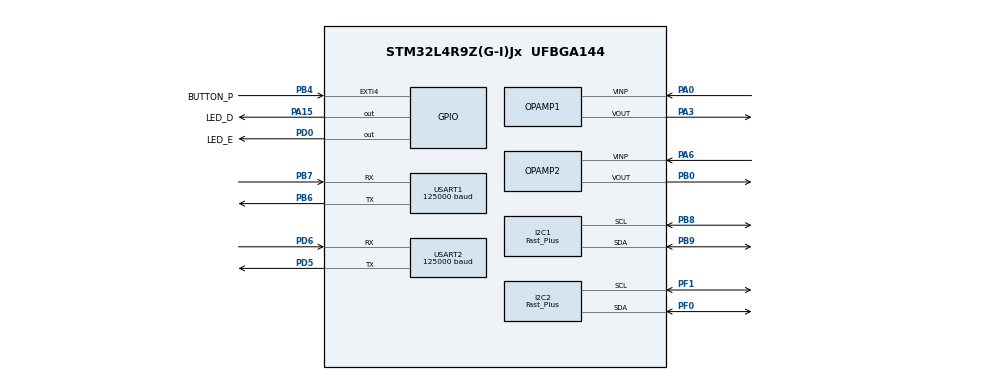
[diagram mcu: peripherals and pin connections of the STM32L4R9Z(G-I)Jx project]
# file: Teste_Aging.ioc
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ADC1.Channel-0\#ChannelRegularConversion=ADC_CHANNEL_TEMPSENSOR
ADC1.Channel-1\#ChannelRegularConversion=ADC_CHANNEL_8
ADC1.Channel-2\#ChannelRegularConversion=ADC_CHANNEL_15
ADC1.ContinuousConvMode=DISABLE
ADC1.DMAContinuousRequests=DISABLE
ADC1.DiscontinuousConvMode=DISABLE
ADC1.EOCSelection=ADC_EOC_SINGLE_CONV
ADC1.EnableAnalogWatchDog1=false
ADC1.NbrOfConversion=3
ADC1.NbrOfConversionFlag=1
ADC1.OffsetNumber-0\#ChannelRegularConversion=ADC_OFFSET_NONE
ADC1.OffsetNumber-1\#ChannelRegularConversion=ADC_OFFSET_NONE
ADC1.OffsetNumber-2\#ChannelRegularConversion=ADC_OFFSET_NONE
ADC1.Rank-0\#ChannelRegularConversion=1
ADC1.Rank-1\#ChannelRegularConversion=2
ADC1.Rank-2\#ChannelRegularConversion=3
ADC1.SamplingTime-0\#ChannelRegularConversion=ADC_SAMPLETIME_640CYCLES_5
ADC1.SamplingTime-1\#ChannelRegularConversion=ADC_SAMPLETIME_640CYCLES_5
ADC1.SamplingTime-2\#ChannelRegularConversion=ADC_SAMPLETIME_640CYCLES_5
ADC1.master=1
Dma.Request0=USART1_RX
Dma.Request1=USART1_TX
Dma.Request2=USART2_RX
Dma.Request3=USART2_TX
Dma.USART1_RX.0.Direction=DMA_PERIPH_TO_MEMORY
Dma.USART1_RX.0.EventEnable=DISABLE
Dma.USART1_RX.0.Instance=DMA1_Channel1
Dma.USART1_RX.0.MemDataAlignment=DMA_MDATAALIGN_BYTE
Dma.USART1_RX.0.MemInc=DMA_MINC_ENABLE
Dma.USART1_RX.0.Mode=DMA_CIRCULAR
Dma.USART1_RX.0.PeriphDataAlignment=DMA_PDATAALIGN_BYTE
Dma.USART1_RX.0.PeriphInc=DMA_PINC_DISABLE
Dma.USART1_RX.0.Polarity=HAL_DMAMUX_REQUEST_GEN_RISING
Dma.USART1_RX.0.Priority=DMA_PRIORITY_LOW
Dma.USART1_RX.0.RequestNumber=1
Dma.USART1_RX.0.SignalID=NONE
Dma.USART1_RX.0.SyncEnable=DISABLE
Dma.USART1_RX.0.SyncPolarity=HAL_DMAMUX_SYNC_NO_EVENT
Dma.USART1_RX.0.SyncRequestNumber=1
Dma.USART1_RX.0.SyncSignalID=NONE
Dma.USART1_TX.1.Direction=DMA_MEMORY_TO_PERIPH
Dma.USART1_TX.1.EventEnable=DISABLE
Dma.USART1_TX.1.Instance=DMA1_Channel2
Dma.USART1_TX.1.MemDataAlignment=DMA_MDATAALIGN_BYTE
Dma.USART1_TX.1.MemInc=DMA_MINC_ENABLE
Dma.USART1_TX.1.Mode=DMA_NORMAL
Dma.USART1_TX.1.PeriphDataAlignment=DMA_PDATAALIGN_BYTE
Dma.USART1_TX.1.PeriphInc=DMA_PINC_DISABLE
Dma.USART1_TX.1.Polarity=HAL_DMAMUX_REQUEST_GEN_RISING
Dma.USART1_TX.1.Priority=DMA_PRIORITY_LOW
Dma.USART1_TX.1.RequestNumber=1
Dma.USART1_TX.1.SignalID=NONE
Dma.USART1_TX.1.SyncEnable=DISABLE
Dma.USART1_TX.1.SyncPolarity=HAL_DMAMUX_SYNC_NO_EVENT
Dma.USART1_TX.1.SyncRequestNumber=1
Dma.USART1_TX.1.SyncSignalID=NONE
Dma.USART2_RX.2.Direction=DMA_PERIPH_TO_MEMORY
Dma.USART2_RX.2.EventEnable=DISABLE
Dma.USART2_RX.2.Instance=DMA2_Channel1
Dma.USART2_RX.2.MemDataAlignment=DMA_MDATAALIGN_BYTE
Dma.USART2_RX.2.MemInc=DMA_MINC_ENABLE
Dma.USART2_RX.2.Mode=DMA_CIRCULAR
Dma.USART2_RX.2.PeriphDataAlignment=DMA_PDATAALIGN_BYTE
Dma.USART2_RX.2.PeriphInc=DMA_PINC_DISABLE
Dma.USART2_RX.2.Polarity=HAL_DMAMUX_REQUEST_GEN_RISING
Dma.USART2_RX.2.Priority=DMA_PRIORITY_LOW
Dma.USART2_RX.2.RequestNumber=1
Dma.USART2_RX.2.SignalID=NONE
Dma.USART2_RX.2.SyncEnable=DISABLE
Dma.USART2_RX.2.SyncPolarity=HAL_DMAMUX_SYNC_NO_EVENT
Dma.USART2_RX.2.SyncRequestNumber=1
Dma.USART2_RX.2.SyncSignalID=NONE
Dma.USART2_TX.3.Direction=DMA_MEMORY_TO_PERIPH
Dma.USART2_TX.3.EventEnable=DISABLE
Dma.USART2_TX.3.Instance=DMA2_Channel2
Dma.USART2_TX.3.MemDataAlignment=DMA_MDATAALIGN_BYTE
Dma.USART2_TX.3.MemInc=DMA_MINC_ENABLE
Dma.USART2_TX.3.Mode=DMA_NORMAL
Dma.USART2_TX.3.PeriphDataAlignment=DMA_PDATAALIGN_BYTE
Dma.USART2_TX.3.PeriphInc=DMA_PINC_DISABLE
Dma.USART2_TX.3.Polarity=HAL_DMAMUX_REQUEST_GEN_RISING
Dma.USART2_TX.3.Priority=DMA_PRIORITY_LOW
Dma.USART2_TX.3.RequestNumber=1
Dma.USART2_TX.3.SignalID=NONE
Dma.USART2_TX.3.SyncEnable=DISABLE
Dma.USART2_TX.3.SyncPolarity=HAL_DMAMUX_SYNC_NO_EVENT
Dma.USART2_TX.3.SyncRequestNumber=1
Dma.USART2_TX.3.SyncSignalID=NONE
FREERTOS.BinarySemaphores01=LatchupDetecSem,Dynamic,NULL,Depleted
FREERTOS.Mutexes01=i2cMutex,Dynamic,NULL,Available
FREERTOS.Tasks01=defaultTask,24,512,StartDefaultTask,Default,NULL,Dynamic,NULL,NULL;sendTelemetry,24,512,send_telemetry,As external,&Telemetry_ctx,Dynamic,NULL,NULL;getMeasures,24,512,get_measures,As external,&Telemetry_ctx,Dynamic,NULL,NULL;LatchupDetect,24,256,LatchupProtection,Default,NULL,Dynamic,NULL,NULL
FREERTOS.configENABLE_FPU=1
FREERTOS.configTOTAL_HEAP_SIZE=15000
I2C1.I2C_Speed_Mode=I2C_Fast_Plus
I2C1.Speed=400
I2C1.Timing=0x10820B75
I2C2.I2C_Rise_Time=100
I2C2.I2C_Speed_Mode=I2C_Fast_Plus
I2C2.Speed=400
I2C2.Timing=0x10820B75
Mcu.Family=STM32L4
Mcu.Name=STM32L4R9Z(G-I)Jx
Mcu.Package=UFBGA144
NVIC.DMA1_Channel1_IRQn=true\:5\:0\:false\:false\:true\:true\:false\:true\:true
NVIC.DMA1_Channel2_IRQn=true\:5\:0\:false\:false\:true\:false\:false\:true\:true
NVIC.DMA2_Channel1_IRQn=true\:5\:0\:false\:false\:true\:false\:false\:true\:true
NVIC.DMA2_Channel2_IRQn=true\:5\:0\:false\:false\:true\:false\:false\:true\:true
NVIC.EXTI4_IRQn=true\:5\:0\:false\:false\:true\:true\:true\:true\:true
NVIC.PriorityGroup=NVIC_PRIORITYGROUP_4
NVIC.USART1_IRQn=true\:5\:0\:false\:false\:true\:true\:true\:true\:true
NVIC.USART2_IRQn=true\:5\:0\:false\:false\:true\:true\:true\:true\:true
OPAMP1.PowerSupplyRange=OPAMP_POWERSUPPLY_HIGH
OPAMP1.SelfCalibration=Enable
OPAMP1.UserTrimming=OPAMP_TRIMMING_USER
OPAMP2.PowerSupplyRange=OPAMP_POWERSUPPLY_HIGH
OPAMP2.SelfCalibration=Enable
OPAMP2.UserTrimming=OPAMP_TRIMMING_USER
PA0.Mode=PGA Not Connected
PA0.Signal=OPAMP1_VINP
PA13\ (JTMS/SWDIO).Mode=Trace_Asynchronous_SW
PA13\ (JTMS/SWDIO).Signal=SYS_JTMS-SWDIO
PA14\ (JTCK/SWCLK).Mode=Trace_Asynchronous_SW
PA14\ (JTCK/SWCLK).Signal=SYS_JTCK-SWCLK
PA15\ (JTDI).GPIO_Label=LED_D
PA15\ (JTDI).Signal=GPIO_Output
PA3.Signal=SharedAnalog_PA3
PA4.Signal=SharedAnalog_PA4
PA6.Mode=PGA Not Connected
PA6.Signal=OPAMP2_VINP
PB0.Signal=SharedAnalog_PB0
PB3\ (JTDO/TRACESWO).Mode=Trace_Asynchronous_SW
PB3\ (JTDO/TRACESWO).Signal=SYS_JTDO-SWO
PB4\ (NJTRST).GPIO_Label=BUTTON_P
PB4\ (NJTRST).GPIO_ModeDefaultEXTI=GPIO_MODE_IT_FALLING
PB4\ (NJTRST).GPIO_PuPd=GPIO_PULLUP
PB4\ (NJTRST).Signal=GPXTI4
PB6.Mode=Asynchronous
PB6.Signal=USART1_TX
PB7.Mode=Asynchronous
PB7.Signal=USART1_RX
PB8.Mode=I2C
PB8.Signal=I2C1_SCL
PB9.Mode=I2C
PB9.Signal=I2C1_SDA
PC14-OSC32_IN\ (PC14).Mode=LSE-External-Oscillator
PC14-OSC32_IN\ (PC14).Signal=RCC_OSC32_IN
PC15-OSC32_OUT\ (PC15).Mode=LSE-External-Oscillator
PC15-OSC32_OUT\ (PC15).Signal=RCC_OSC32_OUT
PD0.GPIO_Label=LED_E
PD0.Signal=GPIO_Output
PD5.Mode=Asynchronous
PD5.Signal=USART2_TX
PD6.Mode=Asynchronous
PD6.Signal=USART2_RX
PF0.Mode=I2C
PF0.Signal=I2C2_SDA
PF1.Mode=I2C
PF1.Signal=I2C2_SCL
PH0-OSC_IN\ (PH0).Mode=HSE-External-Oscillator
PH0-OSC_IN\ (PH0).Signal=RCC_OSC_IN
PH1-OSC_OUT\ (PH1).Mode=HSE-External-Oscillator
PH1-OSC_OUT\ (PH1).Signal=RCC_OSC_OUT
ProjectManager.HeapSize=0x200
ProjectManager.StackSize=0x400
ProjectManager.TargetToolchain=STM32CubeIDE
RCC.ADCFreq_Value=32000000
RCC.AHBFreq_Value=120000000
RCC.APB1Freq_Value=120000000
RCC.APB1TimFreq_Value=120000000
RCC.APB2Freq_Value=120000000
RCC.APB2TimFreq_Value=120000000
RCC.CortexFreq_Value=120000000
RCC.HCLKFreq_Value=120000000
RCC.HSE_VALUE=16000000
RCC.HSI48_VALUE=48000000
RCC.HSI_VALUE=16000000
RCC.MSI_VALUE=4000000
RCC.PLLN=60
RCC.PLLSAI1N=16
RCC.SYSCLKFreq_VALUE=120000000
RCC.SYSCLKSource=RCC_SYSCLKSOURCE_PLLCLK
RCC.USBFreq_Value=32000000
RCC.VCOOutputFreq_Value=240000000
SH.SharedAnalog_PA3.0=ADC1_IN8
SH.SharedAnalog_PA3.1=OPAMP1_VOUT,PGA Not Connected
SH.SharedAnalog_PA4.0=DAC1_OUT1
SH.SharedAnalog_PA4.1=ADC1_IN9
SH.SharedAnalog_PB0.0=ADC1_IN15
SH.SharedAnalog_PB0.1=OPAMP2_VOUT,PGA Not Connected
USART1.BaudRate=125000
USART1.SwapParam=ADVFEATURE_SWAP_DISABLE
USART1.VirtualMode-Asynchronous=VM_ASYNC
USART2.BaudRate=125000
USART2.SwapParam=ADVFEATURE_SWAP_DISABLE
USART2.VirtualMode-Asynchronous=VM_ASYNC
VP_ADC1_OPAMP1_OUT.Mode=IN8-OPAMP1-Single-Ended
VP_ADC1_OPAMP2_OUT.Mode=IN15-OPAMP2-Single-Ended
VP_ADC1_TempSens_Input.Mode=IN-TempSens
VP_FREERTOS_VS_CMSIS_V2.Mode=CMSIS_V2
VP_RTC_VS_RTC_Activate.Mode=RTC_Enabled
board=custom

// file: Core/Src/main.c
/* USER CODE BEGIN Header */
/**
  ******************************************************************************
  * @file           : main.c
  * @brief          : Main program body
  ******************************************************************************
  * @attention
  *
  * Copyright (c) 2025 STMicroelectronics.
  * All rights reserved.
  *
  * This software is licensed under terms that can be found in the LICENSE file
  * in the root directory of this software component.
  * If no LICENSE file comes with this software, it is provided AS-IS.
  *
  ******************************************************************************
  */
/* USER CODE END Header */
#include "main.h"
#include "cmsis_os.h"

/* USER CODE BEGIN Includes */
#include "IHM.h"
#include "Serial_Bridge.h"
#include "TPS65400.h"
#include "MYMGM1R.h"
#include "telemetry.h"
#include "utils.h"
#include "protocol.h"
#include "fpga_link.h"

/* USER CODE END Includes */

ADC_HandleTypeDef hadc1;

I2C_HandleTypeDef hi2c1;
I2C_HandleTypeDef hi2c2;

OPAMP_HandleTypeDef hopamp1;
OPAMP_HandleTypeDef hopamp2;

RTC_HandleTypeDef hrtc;

UART_HandleTypeDef huart1;
UART_HandleTypeDef huart2;
DMA_HandleTypeDef hdma_usart1_rx;
DMA_HandleTypeDef hdma_usart1_tx;
DMA_HandleTypeDef hdma_usart2_rx;
DMA_HandleTypeDef hdma_usart2_tx;

/* Definitions for defaultTask */
osThreadId_t defaultTaskHandle;
const osThreadAttr_t defaultTask_attributes = {
  .name = "defaultTask",
  .stack_size = 512 * 4,
  .priority = (osPriority_t) osPriorityNormal,
};
/* Definitions for sendTelemetry */
osThreadId_t sendTelemetryHandle;
const osThreadAttr_t sendTelemetry_attributes = {
  .name = "sendTelemetry",
  .stack_size = 512 * 4,
  .priority = (osPriority_t) osPriorityNormal,
};
/* Definitions for getMeasures */
osThreadId_t getMeasuresHandle;
const osThreadAttr_t getMeasures_attributes = {
  .name = "getMeasures",
  .stack_size = 512 * 4,
  .priority = (osPriority_t) osPriorityNormal,
};
/* Definitions for LatchupDetect */
osThreadId_t LatchupDetectHandle;
const osThreadAttr_t LatchupDetect_attributes = {
  .name = "LatchupDetect",
  .stack_size = 256 * 4,
  .priority = (osPriority_t) osPriorityNormal,
};
/* Definitions for i2cMutex */
osMutexId_t i2cMutexHandle;
const osMutexAttr_t i2cMutex_attributes = {
  .name = "i2cMutex"
};
/* Definitions for LatchupDetecSem */
osSemaphoreId_t LatchupDetecSemHandle;
const osSemaphoreAttr_t LatchupDetecSem_attributes = {
  .name = "LatchupDetecSem"
};
/* USER CODE BEGIN PV */

/* Arquitetura B (04/11/2026) ------------------------------------------------
 * txMutex: uma linha por vez no ST-Link ($TEL, $BST, $LEVT, $FPG, $FWV).
 * cmdTask: aplica os comandos do ST-Link fora da interrupção (protocol.c).
 * fpgaLink: repassa os quadros do FPGA ($FPG) e manda o STM_HELLO (fpga_link.c).
 * HUB_OLED = 0: a tarefa padrão não desenha mais no OLED (o OLED_Init já estava
 * comentado no 361fc39); assim ela não usa sprintf com %f nem o I2C2. */
#ifndef HUB_OLED
#define HUB_OLED 0
#endif
osMutexId_t txMutexHandle;
const osMutexAttr_t txMutex_attributes = {
  .name = "txMutex"
};
osThreadId_t cmdTaskHandle;
const osThreadAttr_t cmdTask_attributes = {
  .name = "cmdTask",
  .stack_size = 512 * 4,
  .priority = (osPriority_t) osPriorityNormal,
};
osThreadId_t fpgaLinkHandle;
const osThreadAttr_t fpgaLink_attributes = {
  .name = "fpgaLink",
  .stack_size = 512 * 4,
  .priority = (osPriority_t) osPriorityNormal,
};

MYMGM1R_Struct MYMGM1_ctx;
Telemetry_Context Telemetry_ctx;
TPS65400_Struct TPS65400_ctx;
HAL_StatusTypeDef HAL_Status = HAL_TIMEOUT;
uint8_t init = 1;
/* USER CODE END PV */

void SystemClock_Config(void);
static void MX_GPIO_Init(void);
static void MX_DMA_Init(void);
static void MX_I2C1_Init(void);
static void MX_I2C2_Init(void);
static void MX_ADC1_Init(void);
static void MX_RTC_Init(void);
static void MX_USART1_UART_Init(void);
static void MX_USART2_UART_Init(void);
static void MX_OPAMP1_Init(void);
static void MX_OPAMP2_Init(void);
void StartDefaultTask(void *argument);
extern void send_telemetry(void *argument);
extern void get_measures(void *argument);
void LatchupProtection(void *argument);

/* USER CODE BEGIN PFP */

void OLED_Init(void);

/* USER CODE END PFP */

/* USER CODE BEGIN 0 */
void HAL_GPIO_EXTI_Callback(uint16_t GPIO_Pin)
{
    if (GPIO_Pin == BUTTON_P_Pin)
    {
		uint8_t page = *(get_page());
		if (page == 6) {
			change_page(1);
		}
		else {
			change_page(page+1);
		}
    }
}

void HAL_ADC_LevelOutOfWindowCallback(ADC_HandleTypeDef *hadc) {
	if (hadc->Instance == ADC1) {
		/* Do NOT call MYMGM1R_OUTPUT_Disable here: I2C HAL must not be called
		 * from an ISR context and no mutex is held.  LatchupProtection polls
		 * i_sram every 10 ms and will perform the disable + LEVT + BST correctly. */
		osSemaphoreRelease(LatchupDetecSemHandle);
	}
}

/* v6 (06/11/2026): relógio pelo cristal de 16 MHz (HSE) em vez do MSI (RC interno). Na run de
 * 05–06/11, com o STM32 acima de ~80 °C, o MSI desviou e a USART2 (STM32 → ST-Link → PC) errou
 * (placa B: 745 janelas perdidas). HSE / 4 = 4 MHz, a mesma entrada que o MSI dava ao PLL: 120 MHz
 * e todos os divisores iguais. Sem o cristal no boot, volta ao MSI de antes. Com o CSS, se o
 * cristal parar com o firmware rodando, o hardware passa o SYSCLK ao MSI (4 MHz) e a tarefa padrão
 * refaz os 120 MHz pelo MSI. O ADC (proteção de latch-up) usa o PLLSAI1, que tem de seguir a fonte
 * do PLL principal (o HAL recusa fontes diferentes). */
const char *volatile hub_clk_source = "MSI";
static volatile uint8_t s_clk_css_event = 0;

static HAL_StatusTypeDef Clock_Pll_120MHz(uint32_t source)
{
  RCC_OscInitTypeDef osc = {0};
  osc.OscillatorType = RCC_OSCILLATORTYPE_LSI | RCC_OSCILLATORTYPE_MSI;
  osc.LSIState = RCC_LSI_ON;
  osc.MSIState = RCC_MSI_ON;
  osc.MSICalibrationValue = 0;
  osc.MSIClockRange = RCC_MSIRANGE_6;              /* 4 MHz */
  if (source == RCC_PLLSOURCE_HSE) {
    osc.OscillatorType |= RCC_OSCILLATORTYPE_HSE;
    osc.HSEState = RCC_HSE_ON;
  }
  osc.PLL.PLLState = RCC_PLL_ON;
  osc.PLL.PLLSource = source;
  osc.PLL.PLLM = (source == RCC_PLLSOURCE_HSE) ? 4 : 1;   /* 4 MHz na entrada do PLL */
  osc.PLL.PLLN = 60;
  osc.PLL.PLLP = RCC_PLLP_DIV2;
  osc.PLL.PLLQ = RCC_PLLQ_DIV2;
  osc.PLL.PLLR = RCC_PLLR_DIV2;
  return HAL_RCC_OscConfig(&osc);
}

static HAL_StatusTypeDef Clock_Sys_From_Pll(void)
{
  RCC_ClkInitTypeDef clk = {0};
  clk.ClockType = RCC_CLOCKTYPE_HCLK | RCC_CLOCKTYPE_SYSCLK | RCC_CLOCKTYPE_PCLK1 | RCC_CLOCKTYPE_PCLK2;
  clk.SYSCLKSource = RCC_SYSCLKSOURCE_PLLCLK;
  clk.AHBCLKDivider = RCC_SYSCLK_DIV1;
  clk.APB1CLKDivider = RCC_HCLK_DIV1;
  clk.APB2CLKDivider = RCC_HCLK_DIV1;
  return HAL_RCC_ClockConfig(&clk, FLASH_LATENCY_5);
}

/* ADC1 pelo PLLSAI1 a 32 MHz, com a mesma fonte do PLL principal (chamado no HAL_ADC_MspInit). */
HAL_StatusTypeDef Clock_Adc_Config(void)
{
  RCC_PeriphCLKInitTypeDef p = {0};
  p.PeriphClockSelection = RCC_PERIPHCLK_ADC;
  p.AdcClockSelection = RCC_ADCCLKSOURCE_PLLSAI1;
  p.PLLSAI1.PLLSAI1Source = __HAL_RCC_GET_PLL_OSCSOURCE();
  p.PLLSAI1.PLLSAI1M = (p.PLLSAI1.PLLSAI1Source == RCC_PLLSOURCE_HSE) ? 4 : 1;
  p.PLLSAI1.PLLSAI1N = 16;
  p.PLLSAI1.PLLSAI1P = RCC_PLLP_DIV2;
  p.PLLSAI1.PLLSAI1Q = RCC_PLLQ_DIV2;
  p.PLLSAI1.PLLSAI1R = RCC_PLLR_DIV2;
  p.PLLSAI1.PLLSAI1ClockOut = RCC_PLLSAI1_ADC1CLK;
  return HAL_RCCEx_PeriphCLKConfig(&p);
}

/* NMI do CSS: o cristal parou. O hardware já passou o SYSCLK ao MSI e desligou o PLL. */
void HAL_RCC_CSSCallback(void)
{
  hub_clk_source = "MSI-CSS";
  s_clk_css_event = 1;
}

/* Na tarefa padrão, fora da interrupção: 120 MHz de novo, agora pelo MSI. */
static void Clock_Css_Recover(void)
{
  __HAL_RCC_HSE_CONFIG(RCC_HSE_OFF);
  /* o HAL não muda o PLL principal com o PLLSAI1 ligado (a fonte é a mesma): desliga o do ADC antes */
  __HAL_RCC_PLLSAI1_DISABLE();
  uint32_t t0 = HAL_GetTick();
  while (READ_BIT(RCC->CR, RCC_CR_PLLSAI1RDY) != 0U && HAL_GetTick() - t0 < 10U) { }
  if (Clock_Pll_120MHz(RCC_PLLSOURCE_MSI) == HAL_OK && Clock_Sys_From_Pll() == HAL_OK) {
    (void)Clock_Adc_Config();
  }
}
/* USER CODE END 0 */

int main(void)
{

  /* MCU Configuration--------------------------------------------------------*/

  /* Reset of all peripherals, Initializes the Flash interface and the Systick. */
  HAL_Init();

  /* Configure the system clock */
  SystemClock_Config();

  /* Initialize all configured peripherals */
  MX_GPIO_Init();
  MX_DMA_Init();
  MX_I2C1_Init();
  MX_I2C2_Init();
  MX_ADC1_Init();
  MX_RTC_Init();
  MX_USART1_UART_Init();
  MX_USART2_UART_Init();
  MX_OPAMP1_Init();
  MX_OPAMP2_Init();
  /* USER CODE BEGIN 2 */
  MYMGM1R_Init(&hi2c1, &MYMGM1_ctx);

  HAL_ADCEx_Calibration_Start(&hadc1, ADC_SINGLE_ENDED);

  HAL_OPAMP_Start(&hopamp1);
  HAL_OPAMP_Start(&hopamp2);

  //OLED_Init();

  Telemetry_Init(&Telemetry_ctx, &huart1, &MYMGM1_ctx, &hadc1);
  Telemetry_Enable(&Telemetry_ctx);
  Telemetry_Set_Output_State(&Telemetry_ctx, 1u);

  Start_Bridge(&huart1, &huart2);

  Init_Utils(&MYMGM1_ctx, &Telemetry_ctx);

  /* Emit startup $BST so the host knows the initial board state on connect. */
  Telemetry_Send_Board_Status(&Telemetry_ctx);

  /* USER CODE END 2 */

  /* Init scheduler */
  osKernelInitialize();
  /* Create the mutex(es) */
  /* creation of i2cMutex */
  i2cMutexHandle = osMutexNew(&i2cMutex_attributes);

  /* USER CODE BEGIN RTOS_MUTEX */
  /* add mutexes, ... */
  txMutexHandle = osMutexNew(&txMutex_attributes);
  /* USER CODE END RTOS_MUTEX */

  /* Create the semaphores(s) */
  /* creation of LatchupDetecSem */
  LatchupDetecSemHandle = osSemaphoreNew(1, 0, &LatchupDetecSem_attributes);

  /* Create the thread(s) */
  /* creation of defaultTask */
  defaultTaskHandle = osThreadNew(StartDefaultTask, NULL, &defaultTask_attributes);

  /* creation of sendTelemetry */
  sendTelemetryHandle = osThreadNew(send_telemetry, (void*) &Telemetry_ctx, &sendTelemetry_attributes);

  /* creation of getMeasures */
  getMeasuresHandle = osThreadNew(get_measures, (void*) &Telemetry_ctx, &getMeasures_attributes);

  /* creation of LatchupDetect */
  LatchupDetectHandle = osThreadNew(LatchupProtection, NULL, &LatchupDetect_attributes);

  /* USER CODE BEGIN RTOS_THREADS */
  /* add threads, ... */
  cmdTaskHandle = osThreadNew(Command_Task, NULL, &cmdTask_attributes);
  fpgaLinkHandle = osThreadNew(FPGA_Link_Task, NULL, &fpgaLink_attributes);
  /* USER CODE END RTOS_THREADS */

  /* Start scheduler */
  osKernelStart();

  /* We should never get here as control is now taken by the scheduler */

  /* Infinite loop */
  /* USER CODE BEGIN WHILE */

  while (1)
  {

//	  MYMGM1R_OUTPUT_Disable(&MYMGM1_ctx);
//
//	  HAL_Delay(200);

//	  MYMGM1R_Set_Vcore(&MYMGM1_ctx,  V_FPGA);

//	  HAL_GPIO_TogglePin(GPIOB, GPIO_PIN_6);
//	  HAL_Delay(100);
    /* USER CODE END WHILE */

  }
}

void SystemClock_Config(void)
{
  /** Configure the main internal regulator output voltage
  */
  if (HAL_PWREx_ControlVoltageScaling(PWR_REGULATOR_VOLTAGE_SCALE1_BOOST) != HAL_OK)
  {
    Error_Handler();
  }

  /* v6: cristal de 16 MHz primeiro; se ele não oscilar (HSERDY em 100 ms), o MSI de antes.
     Ver Clock_Pll_120MHz no USER CODE 0. */
  if (Clock_Pll_120MHz(RCC_PLLSOURCE_HSE) == HAL_OK)
  {
    hub_clk_source = "HSE";
  }
  else
  {
    __HAL_RCC_HSE_CONFIG(RCC_HSE_OFF);
    if (Clock_Pll_120MHz(RCC_PLLSOURCE_MSI) != HAL_OK)
    {
      Error_Handler();
    }
    hub_clk_source = "MSI";
  }

  if (Clock_Sys_From_Pll() != HAL_OK)
  {
    Error_Handler();
  }

  if (hub_clk_source[0] == 'H')
  {
    HAL_RCC_EnableCSS();     /* cristal parou → NMI → HAL_RCC_CSSCallback */
  }
}

static void MX_ADC1_Init(void)
{

  ADC_ChannelConfTypeDef sConfig = {0};

  /** Common config
  */
  hadc1.Instance = ADC1;
  hadc1.Init.ClockPrescaler = ADC_CLOCK_ASYNC_DIV1;
  hadc1.Init.Resolution = ADC_RESOLUTION_12B;
  hadc1.Init.DataAlign = ADC_DATAALIGN_RIGHT;
  hadc1.Init.ScanConvMode = ADC_SCAN_ENABLE;
  hadc1.Init.EOCSelection = ADC_EOC_SINGLE_CONV;
  hadc1.Init.LowPowerAutoWait = DISABLE;
  hadc1.Init.ContinuousConvMode = DISABLE;
  hadc1.Init.NbrOfConversion = 3;
  hadc1.Init.DiscontinuousConvMode = DISABLE;
  hadc1.Init.ExternalTrigConv = ADC_SOFTWARE_START;
  hadc1.Init.ExternalTrigConvEdge = ADC_EXTERNALTRIGCONVEDGE_NONE;
  hadc1.Init.DMAContinuousRequests = DISABLE;
  hadc1.Init.Overrun = ADC_OVR_DATA_PRESERVED;
  hadc1.Init.OversamplingMode = DISABLE;
  if (HAL_ADC_Init(&hadc1) != HAL_OK)
  {
    Error_Handler();
  }

  /** Configure Regular Channel
  */
  sConfig.Channel = ADC_CHANNEL_TEMPSENSOR;
  sConfig.Rank = ADC_REGULAR_RANK_1;
  sConfig.SamplingTime = ADC_SAMPLETIME_640CYCLES_5;
  sConfig.SingleDiff = ADC_SINGLE_ENDED;
  sConfig.OffsetNumber = ADC_OFFSET_NONE;
  sConfig.Offset = 0;
  if (HAL_ADC_ConfigChannel(&hadc1, &sConfig) != HAL_OK)
  {
    Error_Handler();
  }

  /** Configure Regular Channel
  */
  sConfig.Channel = ADC_CHANNEL_8;
  sConfig.Rank = ADC_REGULAR_RANK_2;
  if (HAL_ADC_ConfigChannel(&hadc1, &sConfig) != HAL_OK)
  {
    Error_Handler();
  }

  /** Configure Regular Channel
  */
  sConfig.Channel = ADC_CHANNEL_15;
  sConfig.Rank = ADC_REGULAR_RANK_3;
  if (HAL_ADC_ConfigChannel(&hadc1, &sConfig) != HAL_OK)
  {
    Error_Handler();
  }

}

static void MX_I2C1_Init(void)
{

  hi2c1.Instance = I2C1;
  hi2c1.Init.Timing = 0x10820B75;
  hi2c1.Init.OwnAddress1 = 0;
  hi2c1.Init.AddressingMode = I2C_ADDRESSINGMODE_7BIT;
  hi2c1.Init.DualAddressMode = I2C_DUALADDRESS_DISABLE;
  hi2c1.Init.OwnAddress2 = 0;
  hi2c1.Init.OwnAddress2Masks = I2C_OA2_NOMASK;
  hi2c1.Init.GeneralCallMode = I2C_GENERALCALL_DISABLE;
  hi2c1.Init.NoStretchMode = I2C_NOSTRETCH_DISABLE;
  if (HAL_I2C_Init(&hi2c1) != HAL_OK)
  {
    Error_Handler();
  }

  /** Configure Analogue filter
  */
  if (HAL_I2CEx_ConfigAnalogFilter(&hi2c1, I2C_ANALOGFILTER_ENABLE) != HAL_OK)
  {
    Error_Handler();
  }

  /** Configure Digital filter
  */
  if (HAL_I2CEx_ConfigDigitalFilter(&hi2c1, 0) != HAL_OK)
  {
    Error_Handler();
  }

  /** I2C Fast mode Plus enable
  */
  HAL_I2CEx_EnableFastModePlus(I2C_FASTMODEPLUS_I2C1);

}

static void MX_I2C2_Init(void)
{

  hi2c2.Instance = I2C2;
  hi2c2.Init.Timing = 0x10820B75;
  hi2c2.Init.OwnAddress1 = 0;
  hi2c2.Init.AddressingMode = I2C_ADDRESSINGMODE_7BIT;
  hi2c2.Init.DualAddressMode = I2C_DUALADDRESS_DISABLE;
  hi2c2.Init.OwnAddress2 = 0;
  hi2c2.Init.OwnAddress2Masks = I2C_OA2_NOMASK;
  hi2c2.Init.GeneralCallMode = I2C_GENERALCALL_DISABLE;
  hi2c2.Init.NoStretchMode = I2C_NOSTRETCH_DISABLE;
  if (HAL_I2C_Init(&hi2c2) != HAL_OK)
  {
    Error_Handler();
  }

  /** Configure Analogue filter
  */
  if (HAL_I2CEx_ConfigAnalogFilter(&hi2c2, I2C_ANALOGFILTER_ENABLE) != HAL_OK)
  {
    Error_Handler();
  }

  /** Configure Digital filter
  */
  if (HAL_I2CEx_ConfigDigitalFilter(&hi2c2, 0) != HAL_OK)
  {
    Error_Handler();
  }

  /** I2C Fast mode Plus enable
  */
  HAL_I2CEx_EnableFastModePlus(I2C_FASTMODEPLUS_I2C2);

}

static void MX_OPAMP1_Init(void)
{

  hopamp1.Instance = OPAMP1;
  hopamp1.Init.PowerSupplyRange = OPAMP_POWERSUPPLY_HIGH;
  hopamp1.Init.Mode = OPAMP_PGA_MODE;
  hopamp1.Init.NonInvertingInput = OPAMP_NONINVERTINGINPUT_IO0;
  hopamp1.Init.InvertingInput = OPAMP_INVERTINGINPUT_CONNECT_NO;
  hopamp1.Init.PgaGain = OPAMP_PGA_GAIN_2;
  hopamp1.Init.PowerMode = OPAMP_POWERMODE_NORMALPOWER;
  hopamp1.Init.UserTrimming = OPAMP_TRIMMING_USER;
  if (HAL_OPAMP_Init(&hopamp1) != HAL_OK)
  {
    Error_Handler();
  }
  if (HAL_OPAMP_SelfCalibrate(&hopamp1) != HAL_OK)
  {
    Error_Handler();
  }

}

static void MX_OPAMP2_Init(void)
{

  hopamp2.Instance = OPAMP2;
  hopamp2.Init.PowerSupplyRange = OPAMP_POWERSUPPLY_HIGH;
  hopamp2.Init.Mode = OPAMP_PGA_MODE;
  hopamp2.Init.NonInvertingInput = OPAMP_NONINVERTINGINPUT_IO0;
  hopamp2.Init.InvertingInput = OPAMP_INVERTINGINPUT_CONNECT_NO;
  hopamp2.Init.PgaGain = OPAMP_PGA_GAIN_2;
  hopamp2.Init.PowerMode = OPAMP_POWERMODE_NORMALPOWER;
  hopamp2.Init.UserTrimming = OPAMP_TRIMMING_USER;
  if (HAL_OPAMP_Init(&hopamp2) != HAL_OK)
  {
    Error_Handler();
  }
  if (HAL_OPAMP_SelfCalibrate(&hopamp2) != HAL_OK)
  {
    Error_Handler();
  }

}

static void MX_RTC_Init(void)
{

  /** Initialize RTC Only
  */
  hrtc.Instance = RTC;
  hrtc.Init.HourFormat = RTC_HOURFORMAT_24;
  hrtc.Init.AsynchPrediv = 127;
  hrtc.Init.SynchPrediv = 255;
  hrtc.Init.OutPut = RTC_OUTPUT_DISABLE;
  hrtc.Init.OutPutRemap = RTC_OUTPUT_REMAP_NONE;
  hrtc.Init.OutPutPolarity = RTC_OUTPUT_POLARITY_HIGH;
  hrtc.Init.OutPutType = RTC_OUTPUT_TYPE_OPENDRAIN;
  if (HAL_RTC_Init(&hrtc) != HAL_OK)
  {
    Error_Handler();
  }

}

static void MX_USART1_UART_Init(void)
{

  huart1.Instance = USART1;
  huart1.Init.BaudRate = 125000;
  huart1.Init.WordLength = UART_WORDLENGTH_8B;
  huart1.Init.StopBits = UART_STOPBITS_1;
  huart1.Init.Parity = UART_PARITY_NONE;
  huart1.Init.Mode = UART_MODE_TX_RX;
  huart1.Init.HwFlowCtl = UART_HWCONTROL_NONE;
  huart1.Init.OverSampling = UART_OVERSAMPLING_16;
  huart1.Init.OneBitSampling = UART_ONE_BIT_SAMPLE_DISABLE;
  huart1.Init.ClockPrescaler = UART_PRESCALER_DIV1;
  huart1.AdvancedInit.AdvFeatureInit = UART_ADVFEATURE_NO_INIT;
  if (HAL_UART_Init(&huart1) != HAL_OK)
  {
    Error_Handler();
  }
  if (HAL_UARTEx_SetTxFifoThreshold(&huart1, UART_TXFIFO_THRESHOLD_1_8) != HAL_OK)
  {
    Error_Handler();
  }
  if (HAL_UARTEx_SetRxFifoThreshold(&huart1, UART_RXFIFO_THRESHOLD_1_8) != HAL_OK)
  {
    Error_Handler();
  }
  if (HAL_UARTEx_DisableFifoMode(&huart1) != HAL_OK)
  {
    Error_Handler();
  }

}

static void MX_USART2_UART_Init(void)
{

  huart2.Instance = USART2;
  huart2.Init.BaudRate = 125000;
  huart2.Init.WordLength = UART_WORDLENGTH_8B;
  huart2.Init.StopBits = UART_STOPBITS_1;
  huart2.Init.Parity = UART_PARITY_NONE;
  huart2.Init.Mode = UART_MODE_TX_RX;
  huart2.Init.HwFlowCtl = UART_HWCONTROL_NONE;
  huart2.Init.OverSampling = UART_OVERSAMPLING_16;
  huart2.Init.OneBitSampling = UART_ONE_BIT_SAMPLE_DISABLE;
  huart2.Init.ClockPrescaler = UART_PRESCALER_DIV1;
  huart2.AdvancedInit.AdvFeatureInit = UART_ADVFEATURE_NO_INIT;
  if (HAL_UART_Init(&huart2) != HAL_OK)
  {
    Error_Handler();
  }
  if (HAL_UARTEx_SetTxFifoThreshold(&huart2, UART_TXFIFO_THRESHOLD_1_8) != HAL_OK)
  {
    Error_Handler();
  }
  if (HAL_UARTEx_SetRxFifoThreshold(&huart2, UART_RXFIFO_THRESHOLD_1_8) != HAL_OK)
  {
    Error_Handler();
  }
  if (HAL_UARTEx_DisableFifoMode(&huart2) != HAL_OK)
  {
    Error_Handler();
  }

}

static void MX_DMA_Init(void)
{

  /* DMA controller clock enable */
  __HAL_RCC_DMAMUX1_CLK_ENABLE();
  __HAL_RCC_DMA1_CLK_ENABLE();
  __HAL_RCC_DMA2_CLK_ENABLE();

  /* DMA interrupt init */
  /* DMA1_Channel1_IRQn interrupt configuration */
  HAL_NVIC_SetPriority(DMA1_Channel1_IRQn, 5, 0);
  HAL_NVIC_EnableIRQ(DMA1_Channel1_IRQn);
  /* DMA1_Channel2_IRQn interrupt configuration */
  HAL_NVIC_SetPriority(DMA1_Channel2_IRQn, 5, 0);
  HAL_NVIC_EnableIRQ(DMA1_Channel2_IRQn);
  /* DMA2_Channel1_IRQn interrupt configuration */
  HAL_NVIC_SetPriority(DMA2_Channel1_IRQn, 5, 0);
  HAL_NVIC_EnableIRQ(DMA2_Channel1_IRQn);
  /* DMA2_Channel2_IRQn interrupt configuration */
  HAL_NVIC_SetPriority(DMA2_Channel2_IRQn, 5, 0);
  HAL_NVIC_EnableIRQ(DMA2_Channel2_IRQn);

}

static void MX_GPIO_Init(void)
{
  GPIO_InitTypeDef GPIO_InitStruct = {0};

  /* GPIO Ports Clock Enable */
  __HAL_RCC_GPIOB_CLK_ENABLE();
  __HAL_RCC_GPIOA_CLK_ENABLE();
  __HAL_RCC_GPIOD_CLK_ENABLE();
  __HAL_RCC_GPIOC_CLK_ENABLE();
  __HAL_RCC_GPIOF_CLK_ENABLE();
  __HAL_RCC_GPIOH_CLK_ENABLE();

  /*Configure GPIO pin Output Level */
  HAL_GPIO_WritePin(LED_D_GPIO_Port, LED_D_Pin, GPIO_PIN_RESET);

  /*Configure GPIO pin Output Level */
  HAL_GPIO_WritePin(LED_E_GPIO_Port, LED_E_Pin, GPIO_PIN_RESET);

  /*Configure GPIO pin : BUTTON_P_Pin */
  GPIO_InitStruct.Pin = BUTTON_P_Pin;
  GPIO_InitStruct.Mode = GPIO_MODE_IT_FALLING;
  GPIO_InitStruct.Pull = GPIO_PULLUP;
  HAL_GPIO_Init(BUTTON_P_GPIO_Port, &GPIO_InitStruct);

  /*Configure GPIO pin : LED_D_Pin */
  GPIO_InitStruct.Pin = LED_D_Pin;
  GPIO_InitStruct.Mode = GPIO_MODE_OUTPUT_PP;
  GPIO_InitStruct.Pull = GPIO_NOPULL;
  GPIO_InitStruct.Speed = GPIO_SPEED_FREQ_LOW;
  HAL_GPIO_Init(LED_D_GPIO_Port, &GPIO_InitStruct);

  /*Configure GPIO pin : LED_E_Pin */
  GPIO_InitStruct.Pin = LED_E_Pin;
  GPIO_InitStruct.Mode = GPIO_MODE_OUTPUT_PP;
  GPIO_InitStruct.Pull = GPIO_NOPULL;
  GPIO_InitStruct.Speed = GPIO_SPEED_FREQ_LOW;
  HAL_GPIO_Init(LED_E_GPIO_Port, &GPIO_InitStruct);

  /*Configure GPIO pin : PA4 */
  GPIO_InitStruct.Pin = GPIO_PIN_4;
  GPIO_InitStruct.Mode = GPIO_MODE_ANALOG;
  GPIO_InitStruct.Pull = GPIO_NOPULL;
  HAL_GPIO_Init(GPIOA, &GPIO_InitStruct);

  /* EXTI interrupt init*/
  HAL_NVIC_SetPriority(EXTI4_IRQn, 5, 0);
  HAL_NVIC_EnableIRQ(EXTI4_IRQn);

}

void StartDefaultTask(void *argument)
{
  /* USER CODE BEGIN 5 */
#if HUB_OLED
  Show_Stats(&MYMGM1_ctx, &Telemetry_ctx, &hadc1);
#endif
  /* Infinite loop */
  for(;;)
  {
    if (s_clk_css_event)            /* v6: o cristal parou (CSS) */
    {
      s_clk_css_event = 0;
      Clock_Css_Recover();
    }
    osDelay(1);
  }
  /* USER CODE END 5 */
}

void LatchupProtection(void *argument)
{
  /* USER CODE BEGIN LatchupProtection */
  /* Infinite loop */
	for (;;) {
		if (Telemetry_ctx.latest.iout > Telemetry_ctx.max_current) {

			/* ── 1. Cut power, record trip ──────────────────────────── */
			osMutexAcquire(i2cMutexHandle, osWaitForever);
			MYMGM1R_OUTPUT_Disable(Telemetry_ctx.power_ctx);
			osMutexRelease(i2cMutexHandle);
			Telemetry_Set_Output_State(&Telemetry_ctx, 0u);
			Telemetry_ctx.latest.latchup_state = 1u;
			Telemetry_ctx.latest.trip_count += 1u;
			Telemetry_Report_Latchup_Event(&Telemetry_ctx, "TRIP", "CURRENT_LIMIT");
			Telemetry_Send_Board_Status(&Telemetry_ctx);

			/* ── 2. Keep output OFF for LATCHUP_DELAY ───────────────── */
			osDelay(LATCHUP_DELAY);

			/* ── 3. Re-enable and wait for inrush to settle ─────────── */
			osMutexAcquire(i2cMutexHandle, osWaitForever);
			MYMGM1R_OUTPUT_Enable(Telemetry_ctx.power_ctx);
			osMutexRelease(i2cMutexHandle);
			Telemetry_Set_Output_State(&Telemetry_ctx, 1u);

			/* LATCHUP_SETTLE: let capacitors charge and inrush decay
			   before sampling iout.  Do not declare CLEAR yet.        */
			osDelay(LATCHUP_SETTLE);

			/* ── 4. Read iout after settle and decide ───────────────── */
			osMutexAcquire(i2cMutexHandle, osWaitForever);
			Telemetry_ctx.latest.iout = MYMGM1R_Read_Iout(Telemetry_ctx.power_ctx);
			osMutexRelease(i2cMutexHandle);

			if (Telemetry_ctx.latest.iout > Telemetry_ctx.max_current) {
				/* Current still elevated — latchup persists; cut again
				   without incrementing trip_count (same event).        */
				osMutexAcquire(i2cMutexHandle, osWaitForever);
				MYMGM1R_OUTPUT_Disable(Telemetry_ctx.power_ctx);
				osMutexRelease(i2cMutexHandle);
				Telemetry_Set_Output_State(&Telemetry_ctx, 0u);
				Telemetry_Report_Latchup_Event(&Telemetry_ctx, "TRIP", "PERSISTENT_LATCHUP");
				Telemetry_Send_Board_Status(&Telemetry_ctx);
				/* Stay in latchup_state=1; outer loop will re-enter
				   the trip branch on the next poll cycle.             */
			} else {
				/* Current within limits — latchup has cleared.        */
				Telemetry_ctx.latest.latchup_state = 0u;
				Telemetry_Report_Latchup_Event(&Telemetry_ctx, "CLEAR", "AUTO_REENABLE");
				Telemetry_Send_Board_Status(&Telemetry_ctx);
			}
		}
		osDelay(10);
	}
  /* USER CODE END LatchupProtection */
}

void Error_Handler(void)
{
  __disable_irq();
  while (1)
  {
  }
}
